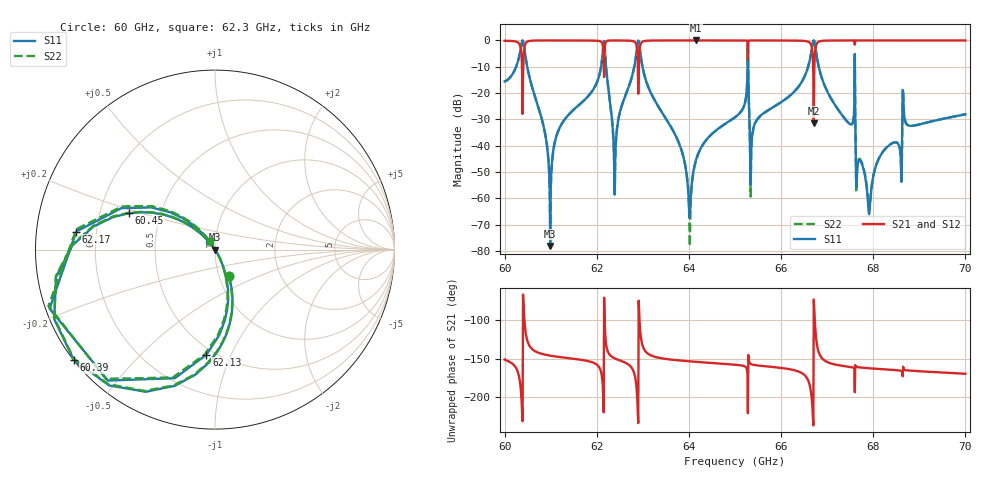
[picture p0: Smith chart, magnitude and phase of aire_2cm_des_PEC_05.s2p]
! TOUCHSTONE file generated by CST MICROWAVE STUDIO
! Date and time: Mon Feb 26 23:24:28 2024
! Project name: aire_des.cst
! Header version: 2018
! Port assignment regex: !\s*Touchstone port\s*([0-9]+)\s*=\s*(CST MWS port|CST DS port)\s*([0-9]+|Zmin|Zmax)\s*\(\"(.*)\"\)(\s*mode\s*([0-9]+))?.*
! Touchstone port assignment:
! Touchstone port 1 = CST MWS port 1 ("")
! Touchstone port 2 = CST MWS port 2 ("")
# GHz S MA R 376.7
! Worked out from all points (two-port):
!   1001 points, 60 GHz to 70 GHz, reference 376.7 ohm
!   highest |S21| = 0.00 dB at 64.15 GHz (marker M1); lowest = -31.5 dB at 66.71 GHz (marker M2)
!   |S21| within 3 dB of the highest: 62.93 GHz to 65.27 GHz (2.34 GHz wide, 3.65 % of centre); 66.75 GHz to end of sweep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
!   lowest |S11| = -78.1 dB at 60.99 GHz (marker M3), VSWR 1.00, Z = 377 - j0.0828 ohm
!   |S11| at or under -10 dB: 60.49 GHz to 62.09 GHz (1.602 GHz wide, 2.61 % of centre); 62.99 GHz to 65.27 GHz (2.28 GHz wide, 3.56 % of centre); 67.6 GHz to end of sweep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
!   |S22| runs from -78.2 to 0.0 dB; largest |S21 - S12| = 0.0058
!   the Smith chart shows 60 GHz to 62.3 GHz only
!   S11 on the Smith chart (normalised r, x): 60 GHz: 1.12, -0.34; 60.39 GHz: 0.00, -0.35; 60.45 GHz: 0.33, +0.18; 62.13 GHz: 0.45, -0.81; 62.17 GHz: 0.12, +0.06; 62.3 GHz: 0.93, +0.09
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60  0.1665 -61.0  0.9858 -151.3  0.9859 -151.3  0.1665 -61.5
60.39  0.9984 -141.9  0.04022 128.8  0.04027 134.0  0.995 -142.4
60.45  0.5191 157.0  0.8539 -113.4  0.8535 -113.5  0.5182 156.5
60.99  0.0001241 -62.3  0.9999 -146.2  1 -146.2  0.0002261 28.3
61.67  0.06558 -61.3  0.9978 -151.7  0.9981 -151.7  0.06561 -61.6
62.13  0.5872 -94.6  0.8093 174.9  0.8088 175.0  0.5871 -95.5
62.17  0.7795 172.6  0.6252 -98.0  0.6262 -97.9  0.7801 171.6
62.3  0.05647 124.7  0.9982 -146.3  0.9987 -146.3  0.05651 122.7
62.41  0.009715 -63.1  0.9998 -150.3  1 -150.3  0.009715 -57.4
62.9  0.9924 -145.3  0.09729 126.3  0.09724 129.5  0.987 -145.5
63.34  0.05482 121.6  0.9985 -148.9  0.9985 -148.9  0.05485 121.1
64.01  0.000462 174.9  1 -153.6  0.9999 -153.6  0.0003399 101.7
64.15  0.005234 -68.6  1 -154.2  0.9999 -154.3  0.005128 -62.9
65  0.03477 -68.6  0.9997 -158.0  0.9997 -158.0  0.03473 -67.2
65.25  0.1007 -74.0  0.9949 -162.4  0.9948 -162.4  0.1018 -71.7
65.37  0.01483 -70.9  1 -157.7  0.9999 -157.7  0.01412 -66.2
66.67  0.7089 -115.2  0.7049 154.9  0.705 154.9  0.7089 -115.0
66.71  0.999 -161.6  0.02674 -73.4  0.02651 -72.4  0.9993 -161.4
67.56  0.0283 108.7  0.9997 -161.6  0.9996 -161.6  0.02814 107.8
67.9  0.0005772 166.5  1 -162.5  0.9999 -162.5  0.0007054 48.5
68.34  0.01011 -78.4  0.9999 -164.4  0.9999 -164.4  0.01023 -71.1
70  0.03954 -80.4  0.9998 -169.7  0.9994 -169.7  0.0396 -78.9
